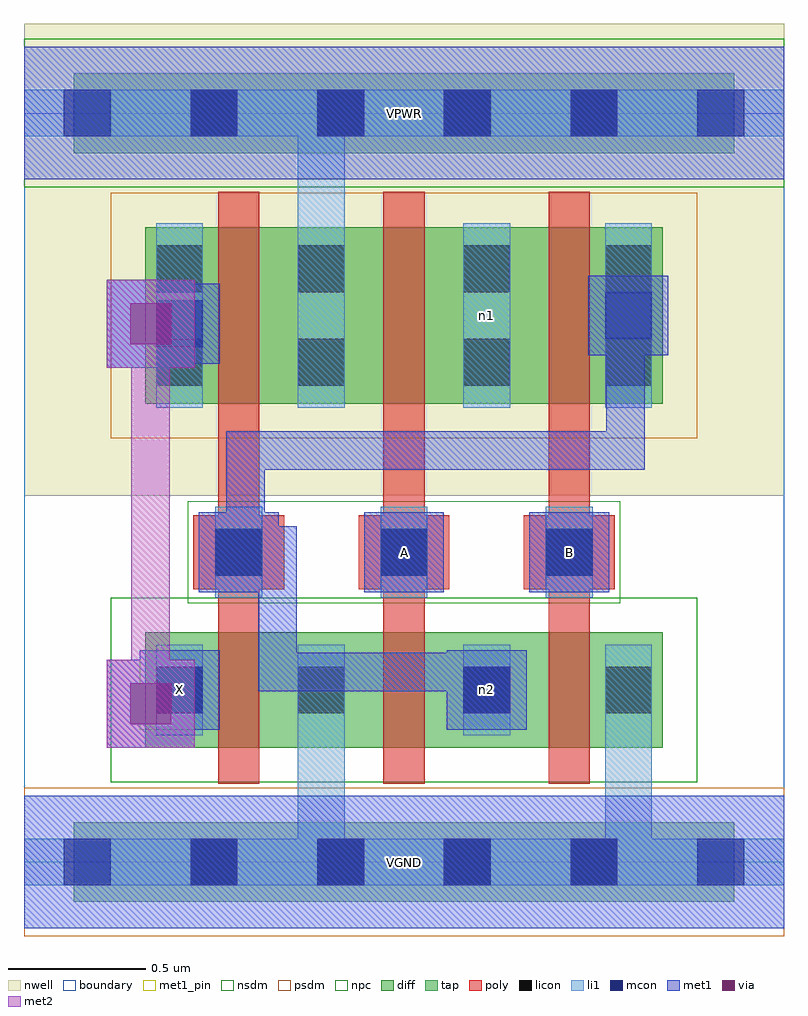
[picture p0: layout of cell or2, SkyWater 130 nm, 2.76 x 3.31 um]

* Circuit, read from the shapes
.subckt or2 A B VGND VPWR X n1 n2
XM1 VGND n2 X VGND sky130_fd_pr__nfet_01v8 w=0.42 l=0.15
XM2 n2 A VGND VGND sky130_fd_pr__nfet_01v8 w=0.42 l=0.15
XM3 VGND B n2 VGND sky130_fd_pr__nfet_01v8 w=0.42 l=0.15
XM4 VPWR n2 X VPWR sky130_fd_pr__pfet_01v8 w=0.64 l=0.15
XM5 n1 A VPWR VPWR sky130_fd_pr__pfet_01v8 w=0.64 l=0.15
XM6 n2 B n1 VPWR sky130_fd_pr__pfet_01v8 w=0.64 l=0.15
.ends

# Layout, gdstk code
import gdstk
lib = gdstk.Library(unit=1e-6, precision=1e-09)
def R(c, l, rs):  # rectangles x0, y0, x1, y1
    for r in rs: c.add(gdstk.rectangle(r[:2], r[2:], *l))
def A(c, l, x, y, w, h, nx, ny, dx, dy):  # array of equal rectangles
    R(c, l, [(x+i*dx, y+j*dy, x+i*dx+w, y+j*dy+h) for i in range(nx) for j in range(ny)])
nwell = (64, 20)
diff = (65, 20)
tap = (65, 44)
poly = (66, 20)
licon = (66, 44)
li1 = (67, 20)
mcon = (67, 44)
met1_pin = (68, 16)
met1 = (68, 20)
via = (68, 44)
met2 = (69, 20)
nsdm = (93, 44)
psdm = (94, 20)
npc = (95, 20)
boundary = (235, 4)

or2 = lib.new_cell('or2')
R(or2, nwell, [(0,1.33,2.76,3.045)])
R(or2, diff, [(0.44,0.415,2.32,0.835), (0.44,1.665,2.32,2.305)])
R(or2, tap, [(0.18,-0.145,2.58,0.145), (0.18,2.575,2.58,2.865)])
A(or2, poly, 0.705, 0.285, 0.15, 2.15, 3, 1, 0.6, 0)
A(or2, poly, 0.615, 0.99, 0.33, 0.27, 3, 1, 0.6, 0)
A(or2, licon, 0.605, -0.085, 0.17, 0.17, 4, 2, 0.46, 2.72)
A(or2, licon, 0.695, 1.04, 0.17, 0.17, 3, 1, 0.6, 0)
R(or2, licon, [(0.48,0.54,0.65,0.71), (0.995,0.54,1.165,0.71), (1.595,0.54,1.765,0.71), (2.11,0.54,2.28,0.71), (0.48,1.73,0.65,1.9), (0.995,1.73,1.165,1.9), (1.595,1.73,1.765,1.9), (2.11,1.73,2.28,1.9), (0.48,2.07,0.65,2.24), (0.995,2.07,1.165,2.24), (1.595,2.07,1.765,2.24), (2.11,2.07,2.28,2.24)])
A(or2, li1, 0.695, 0.96, 0.17, 0.33, 3, 1, 0.6, 0)
R(or2, li1, [(0,-0.085,2.76,0.085), (0.995,-0.085,1.165,0.79), (2.11,-0.085,2.28,0.79), (0.48,0.46,0.65,0.79), (0.995,0.46,1.165,0.79), (1.595,0.46,1.765,0.79), (2.11,0.46,2.28,0.79), (0.48,1.65,0.65,2.32), (0.995,1.65,1.165,2.32), (0.995,1.65,1.165,2.805), (1.595,1.65,1.765,2.32), (2.11,1.65,2.28,2.32), (0,2.635,2.76,2.805)])
A(or2, mcon, 0.145, -0.085, 0.17, 0.17, 6, 2, 0.46, 2.72)
A(or2, mcon, 0.695, 1.04, 0.17, 0.17, 3, 1, 0.6, 0)
R(or2, mcon, [(0.48,0.54,0.65,0.71), (1.595,0.54,1.765,0.71), (0.48,1.87,0.65,2.04), (2.11,1.9,2.28,2.07)])
R(or2, met1_pin, [(0,-0.24,2.76,0.24), (0.42,0.48,0.71,0.77), (1.235,0.98,1.525,1.27), (1.835,0.98,2.125,1.27), (0,2.48,2.76,2.96)])
A(or2, met1, 0.635, 0.98, 0.29, 0.29, 3, 1, 0.6, 0)
R(or2, met1, [(0,-0.24,2.76,0.24), (0.3,0.415,0.62,0.735), (0.42,0.48,0.71,0.77), (1.535,0.48,1.825,0.77), (0.39,0.505,0.645,0.645), (0.505,0.505,0.645,0.645), (0.85,0.62,0.99,1.22), (0.85,0.62,1.68,0.76), (1.54,0.62,1.68,0.76), (0.735,1.08,0.875,1.22), (0.735,1.08,0.875,1.565), (0.735,1.08,0.99,1.22), (0.735,1.425,2.255,1.565), (2.115,1.425,2.255,2.025), (0.3,1.795,0.62,2.115), (0.42,1.81,0.71,2.1), (2.05,1.84,2.34,2.13), (0.39,1.885,0.635,2.025), (2.115,1.885,2.255,2.025), (0,2.48,2.76,2.96)])
R(or2, via, [(0.385,0.5,0.535,0.65), (0.385,1.88,0.535,2.03)])
R(or2, met2, [(0.3,0.415,0.62,0.735), (0.39,0.505,0.53,2.025), (0.3,1.795,0.62,2.115)])
R(or2, nsdm, [(0.315,0.29,2.445,0.96), (0,2.45,2.76,2.99)])
R(or2, psdm, [(0,-0.27,2.76,0.27), (0.315,1.54,2.445,2.43)])
R(or2, npc, [(0.595,0.94,2.165,1.31)])
R(or2, boundary, [(0,0,2.76,2.72)])
or2.add(gdstk.Label('n2', (1.68,0.625), layer=67, texttype=5))
or2.add(gdstk.Label('n1', (1.68,1.985), layer=67, texttype=5))
or2.add(gdstk.Label('A', (1.38,1.125), layer=68, texttype=5))
or2.add(gdstk.Label('B', (1.98,1.125), layer=68, texttype=5))
or2.add(gdstk.Label('X', (0.565,0.625), layer=68, texttype=5))
or2.add(gdstk.Label('VPWR', (1.38,2.72), layer=68, texttype=5))
or2.add(gdstk.Label('VGND', (1.38,0), layer=68, texttype=5))
or2.add(gdstk.Label('A', (1.38,1.125), layer=68, texttype=16))
or2.add(gdstk.Label('B', (1.98,1.125), layer=68, texttype=16))
or2.add(gdstk.Label('X', (0.565,0.625), layer=68, texttype=16))
or2.add(gdstk.Label('VPWR', (1.38,2.72), layer=68, texttype=16))
or2.add(gdstk.Label('VGND', (1.38,0), layer=68, texttype=16))

lib.write_gds('or2.gds')
